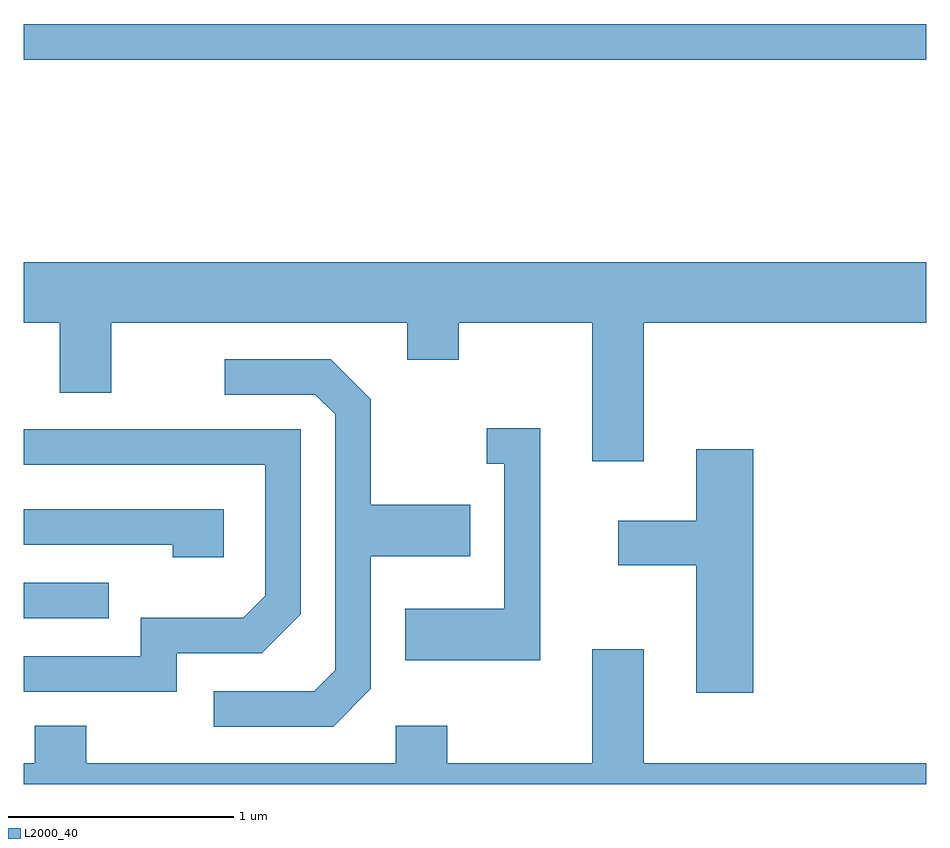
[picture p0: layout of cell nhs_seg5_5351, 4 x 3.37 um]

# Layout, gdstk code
import gdstk
lib = gdstk.Library(unit=1e-6, precision=1e-09)
def R(c, l, rs):  # rectangles x0, y0, x1, y1
    for r in rs: c.add(gdstk.rectangle(r[:2], r[2:], *l))
def P(c, l, *ps):  # polygons
    for p in ps: c.add(gdstk.Polygon(p, *l))
L2000_40 = (2000, 40)

nhs_seg5_5351 = lib.new_cell('nhs_seg5_5351')
R(nhs_seg5_5351, L2000_40, [(343.611,1468.806,343.988,1468.964), (343.611,1471.281,347.611,1471.439)])
P(nhs_seg5_5351, L2000_40, [(346.359,1470.116),(347.611,1470.116),(347.611,1470.384),(343.611,1470.384),(343.611,1470.116),(343.771,1470.116),(343.771,1469.806),(343.999,1469.806),(343.999,1470.116),(345.311,1470.116),(345.311,1469.951),(345.539,1469.951),(345.539,1470.116),(346.131,1470.116),(346.131,1469.501),(346.359,1469.501)],
  [(345.149,1468.494),(345.149,1469.081),(345.589,1469.081),(345.589,1469.309),(345.149,1469.309),(345.149,1469.777),(344.972,1469.954),(344.503,1469.954),(344.503,1469.796),(344.904,1469.796),(344.991,1469.709),(344.991,1468.577),(344.899,1468.484),(344.453,1468.484),(344.453,1468.326),(344.982,1468.326)],
  [(345.899,1469.649),(345.663,1469.649),(345.663,1469.491),(345.741,1469.491),(345.741,1468.849),(345.301,1468.849),(345.301,1468.621),(345.899,1468.621)],
  [(344.289,1468.651),(344.667,1468.651),(344.839,1468.824),(344.839,1469.644),(343.611,1469.644),(343.611,1469.486),(344.681,1469.486),(344.681,1468.907),(344.584,1468.809),(344.131,1468.809),(344.131,1468.639),(343.611,1468.639),(343.611,1468.481),(344.289,1468.481)],
  [(346.844,1469.554),(346.591,1469.554),(346.591,1469.239),(346.246,1469.239),(346.246,1469.041),(346.591,1469.041),(346.591,1468.476),(346.844,1468.476)],
  [(344.499,1469.289),(343.611,1469.289),(343.611,1469.131),(344.271,1469.131),(344.271,1469.076),(344.499,1469.076)],
  [(347.611,1468.164),(346.359,1468.164),(346.359,1468.669),(346.131,1468.669),(346.131,1468.164),(345.489,1468.164),(345.489,1468.329),(345.261,1468.329),(345.261,1468.164),(343.889,1468.164),(343.889,1468.329),(343.661,1468.329),(343.661,1468.164),(343.611,1468.164),(343.611,1468.072),(347.611,1468.072)])

lib.write_gds('nhs_seg5_5351.gds')
